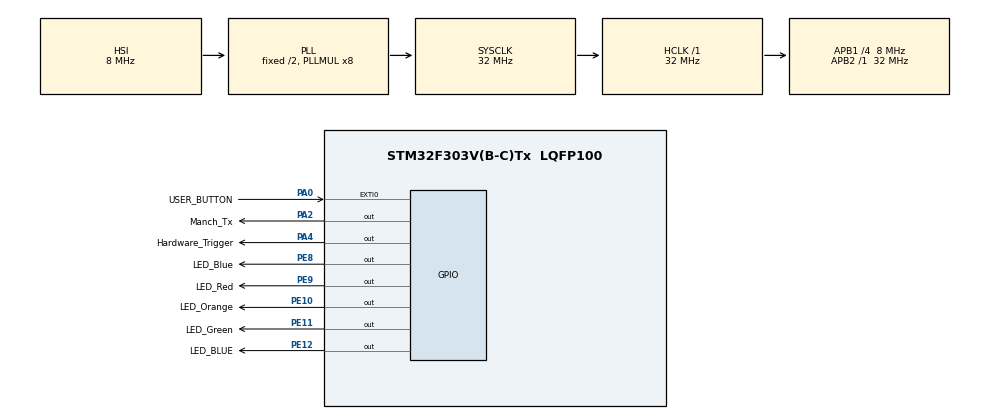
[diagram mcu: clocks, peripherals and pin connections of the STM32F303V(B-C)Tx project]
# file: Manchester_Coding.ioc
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Mcu.Family=STM32F3
Mcu.Name=STM32F303V(B-C)Tx
Mcu.Package=LQFP100
NVIC.EXTI0_IRQn=true\:0\:0\:true\:false\:true\:true
NVIC.PriorityGroup=NVIC_PRIORITYGROUP_4
PA0.GPIO_Label=USER_BUTTON
PA0.GPIO_PuPd=GPIO_PULLDOWN
PA0.Signal=GPXTI0
PA2.GPIO_Label=Manch_Tx
PA2.GPIO_PuPd=GPIO_PULLDOWN
PA2.GPIO_Speed=GPIO_SPEED_FREQ_HIGH
PA2.Signal=GPIO_Output
PA4.GPIO_Label=Hardware_Trigger
PA4.GPIO_PuPd=GPIO_PULLDOWN
PA4.GPIO_Speed=GPIO_SPEED_FREQ_HIGH
PA4.Signal=GPIO_Output
PE10.GPIO_Label=LED_Orange
PE10.GPIO_PuPd=GPIO_PULLDOWN
PE10.Signal=GPIO_Output
PE11.GPIO_Label=LED_Green
PE11.GPIO_PuPd=GPIO_PULLDOWN
PE11.Signal=GPIO_Output
PE12.GPIO_Label=LED_BLUE
PE12.GPIO_PuPd=GPIO_PULLDOWN
PE12.Signal=GPIO_Output
PE8.GPIO_Label=LED_Blue
PE8.GPIO_PuPd=GPIO_PULLDOWN
PE8.Signal=GPIO_Output
PE9.GPIO_Label=LED_Red
PE9.GPIO_PuPd=GPIO_PULLDOWN
PE9.Signal=GPIO_Output
ProjectManager.HeapSize=0x200
ProjectManager.StackSize=0x400
ProjectManager.TargetToolchain=Makefile
RCC.AHBFreq_Value=32000000
RCC.APB1CLKDivider=RCC_HCLK_DIV4
RCC.APB1Freq_Value=8000000
RCC.APB1TimFreq_Value=16000000
RCC.APB2Freq_Value=32000000
RCC.APB2TimFreq_Value=32000000
RCC.CortexFreq_Value=32000000
RCC.HCLKFreq_Value=32000000
RCC.HSE_VALUE=8000000
RCC.HSI_VALUE=8000000
RCC.LSE_VALUE=32768
RCC.PLLMUL=RCC_PLL_MUL8
RCC.SYSCLKFreq_VALUE=32000000
RCC.SYSCLKSourceVirtual=RCC_SYSCLKSOURCE_PLLCLK
RCC.USBFreq_Value=32000000
board=Manchester_Coding

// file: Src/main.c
/**
  ******************************************************************************
  * File Name          : main.c
  * Description        : Main program body
  ******************************************************************************
  ** This notice applies to any and all portions of this file
  * that are not between comment pairs USER CODE BEGIN and
  * USER CODE END. Other portions of this file, whether
  * inserted by the user or by software development tools
  * are owned by their respective copyright owners.
  *
  * COPYRIGHT(c) 2017 STMicroelectronics
  *
  * Redistribution and use in source and binary forms, with or without modification,
  * are permitted provided that the following conditions are met:
  *   1. Redistributions of source code must retain the above copyright notice,
  *      this list of conditions and the following disclaimer.
  *   2. Redistributions in binary form must reproduce the above copyright notice,
  *      this list of conditions and the following disclaimer in the documentation
  *      and/or other materials provided with the distribution.
  *   3. Neither the name of STMicroelectronics nor the names of its contributors
  *      may be used to endorse or promote products derived from this software
  *      without specific prior written permission.
  *
  * THIS SOFTWARE IS PROVIDED BY THE COPYRIGHT HOLDERS AND CONTRIBUTORS "AS IS"
  * AND ANY EXPRESS OR IMPLIED WARRANTIES, INCLUDING, BUT NOT LIMITED TO, THE
  * IMPLIED WARRANTIES OF MERCHANTABILITY AND FITNESS FOR A PARTICULAR PURPOSE ARE
  * DISCLAIMED. IN NO EVENT SHALL THE COPYRIGHT HOLDER OR CONTRIBUTORS BE LIABLE
  * FOR ANY DIRECT, INDIRECT, INCIDENTAL, SPECIAL, EXEMPLARY, OR CONSEQUENTIAL
  * DAMAGES (INCLUDING, BUT NOT LIMITED TO, PROCUREMENT OF SUBSTITUTE GOODS OR
  * SERVICES; LOSS OF USE, DATA, OR PROFITS; OR BUSINESS INTERRUPTION) HOWEVER
  * CAUSED AND ON ANY THEORY OF LIABILITY, WHETHER IN CONTRACT, STRICT LIABILITY,
  * OR TORT (INCLUDING NEGLIGENCE OR OTHERWISE) ARISING IN ANY WAY OUT OF THE USE
  * OF THIS SOFTWARE, EVEN IF ADVISED OF THE POSSIBILITY OF SUCH DAMAGE.
  *
  ******************************************************************************
  */

#include "main.h"
#include "stm32f3xx_hal.h"

/* USER CODE BEGIN Includes */
#include "dwt_stm32_delay.h"
/* USER CODE END Includes */

/* USER CODE BEGIN PV */
/* Private variables ---------------------------------------------------------*/

/* USER CODE END PV */

void SystemClock_Config(void);
static void MX_GPIO_Init(void);

/* USER CODE BEGIN PFP */
/* Private function prototypes -----------------------------------------------*/
static uint32_t T = 400;  /* T value in usec(microseconds) */
static unsigned int response = 0xD5; /* with FE as pre-amble data */
static void Manch_Tx(unsigned int response);

/*interrupt_detected */
unsigned char interrupt_detected = 0;
/* USER CODE END PFP */

int main(void)
{

  /* MCU Configuration----------------------------------------------------------*/

  /* Reset of all peripherals, Initializes the Flash interface and the Systick. */
  HAL_Init();

  /* Configure the system clock */
  SystemClock_Config();

  /* Initialize all configured peripherals */
  MX_GPIO_Init();

  /* USER CODE BEGIN 2 */
  /* Initialize the DWT_Delay_us function */
  if(DWT_Delay_Init())
    {
      _Error_Handler(__FILE__, __LINE__);
    }
  while(interrupt_detected == 0)
    {
    }
  /* I think here, there is a definitive need of some delay */
  /* DWT_Delay_us(10); */
  Manch_Tx(response);

  /* USER CODE END 2 */

  /* Infinite loop */
  /* USER CODE BEGIN WHILE */
  while (1)
  {
  HAL_GPIO_TogglePin(LED_Green_GPIO_Port, LED_Green_Pin);
  HAL_Delay(250);
  /* USER CODE END WHILE */

  }

}

/** System Clock Configuration
*/
void SystemClock_Config(void)
{

  RCC_OscInitTypeDef RCC_OscInitStruct;
  RCC_ClkInitTypeDef RCC_ClkInitStruct;

    /**Initializes the CPU, AHB and APB busses clocks
    */
  RCC_OscInitStruct.OscillatorType = RCC_OSCILLATORTYPE_HSI;
  RCC_OscInitStruct.HSIState = RCC_HSI_ON;
  RCC_OscInitStruct.HSICalibrationValue = 16;
  RCC_OscInitStruct.PLL.PLLState = RCC_PLL_ON;
  RCC_OscInitStruct.PLL.PLLSource = RCC_PLLSOURCE_HSI;
  RCC_OscInitStruct.PLL.PLLMUL = RCC_PLL_MUL8;
  if (HAL_RCC_OscConfig(&RCC_OscInitStruct) != HAL_OK)
  {
    _Error_Handler(__FILE__, __LINE__);
  }

    /**Initializes the CPU, AHB and APB busses clocks
    */
  RCC_ClkInitStruct.ClockType = RCC_CLOCKTYPE_HCLK|RCC_CLOCKTYPE_SYSCLK
                              |RCC_CLOCKTYPE_PCLK1|RCC_CLOCKTYPE_PCLK2;
  RCC_ClkInitStruct.SYSCLKSource = RCC_SYSCLKSOURCE_PLLCLK;
  RCC_ClkInitStruct.AHBCLKDivider = RCC_SYSCLK_DIV1;
  RCC_ClkInitStruct.APB1CLKDivider = RCC_HCLK_DIV4;
  RCC_ClkInitStruct.APB2CLKDivider = RCC_HCLK_DIV1;

  if (HAL_RCC_ClockConfig(&RCC_ClkInitStruct, FLASH_LATENCY_1) != HAL_OK)
  {
    _Error_Handler(__FILE__, __LINE__);
  }

    /**Configure the Systick interrupt time
    */
  HAL_SYSTICK_Config(HAL_RCC_GetHCLKFreq()/1000);

    /**Configure the Systick
    */
  HAL_SYSTICK_CLKSourceConfig(SYSTICK_CLKSOURCE_HCLK);

  /* SysTick_IRQn interrupt configuration */
  HAL_NVIC_SetPriority(SysTick_IRQn, 0, 0);
}

/** Configure pins as
        * Analog
        * Input
        * Output
        * EVENT_OUT
        * EXTI
*/
static void MX_GPIO_Init(void)
{

  GPIO_InitTypeDef GPIO_InitStruct;

  /* GPIO Ports Clock Enable */
  __HAL_RCC_GPIOA_CLK_ENABLE();
  __HAL_RCC_GPIOE_CLK_ENABLE();

  /*Configure GPIO pin Output Level */
  HAL_GPIO_WritePin(GPIOA, Manch_Tx_Pin|Hardware_Trigger_Pin, GPIO_PIN_RESET);

  /*Configure GPIO pin Output Level */
  HAL_GPIO_WritePin(GPIOE, LED_Blue_Pin|LED_Red_Pin|LED_Orange_Pin|LED_Green_Pin
                          |LED_BLUE_Pin, GPIO_PIN_RESET);

  /*Configure GPIO pin : USER_BUTTON_Pin */
  GPIO_InitStruct.Pin = USER_BUTTON_Pin;
  GPIO_InitStruct.Mode = GPIO_MODE_IT_RISING;
  GPIO_InitStruct.Pull = GPIO_PULLDOWN;
  HAL_GPIO_Init(USER_BUTTON_GPIO_Port, &GPIO_InitStruct);

  /*Configure GPIO pins : Manch_Tx_Pin Hardware_Trigger_Pin */
  GPIO_InitStruct.Pin = Manch_Tx_Pin|Hardware_Trigger_Pin;
  GPIO_InitStruct.Mode = GPIO_MODE_OUTPUT_PP;
  GPIO_InitStruct.Pull = GPIO_PULLDOWN;
  GPIO_InitStruct.Speed = GPIO_SPEED_FREQ_HIGH;
  HAL_GPIO_Init(GPIOA, &GPIO_InitStruct);

  /*Configure GPIO pins : LED_Blue_Pin LED_Red_Pin LED_Orange_Pin LED_Green_Pin
                           LED_BLUE_Pin */
  GPIO_InitStruct.Pin = LED_Blue_Pin|LED_Red_Pin|LED_Orange_Pin|LED_Green_Pin
                          |LED_BLUE_Pin;
  GPIO_InitStruct.Mode = GPIO_MODE_OUTPUT_PP;
  GPIO_InitStruct.Pull = GPIO_PULLDOWN;
  GPIO_InitStruct.Speed = GPIO_SPEED_FREQ_LOW;
  HAL_GPIO_Init(GPIOE, &GPIO_InitStruct);

  /* EXTI interrupt init*/
  HAL_NVIC_SetPriority(EXTI0_IRQn, 0, 0);
  HAL_NVIC_EnableIRQ(EXTI0_IRQn);

}

/* USER CODE BEGIN 4 */
void Manch_Tx(unsigned int response)
{
  unsigned int bit_mask = 0x80;
  /* Start bit */
  HAL_GPIO_WritePin(Manch_Tx_GPIO_Port, Manch_Tx_Pin, GPIO_PIN_SET);
  HAL_Delay(1);
  HAL_GPIO_WritePin(Manch_Tx_GPIO_Port, Manch_Tx_Pin, GPIO_PIN_RESET);
  DWT_Delay_us(T);
  HAL_GPIO_WritePin(Manch_Tx_GPIO_Port, Manch_Tx_Pin, GPIO_PIN_SET);
  DWT_Delay_us(T);
  /* while looop */
  while(bit_mask)
    {
      if(bit_mask & response)
	{
	  /* Transmit '1' */
	  HAL_GPIO_WritePin(Manch_Tx_GPIO_Port, Manch_Tx_Pin, GPIO_PIN_RESET);
	  DWT_Delay_us(T);
	  HAL_GPIO_WritePin(Manch_Tx_GPIO_Port, Manch_Tx_Pin, GPIO_PIN_SET);
	  DWT_Delay_us(T);
	}
      else
	{
	  /* Transmit 0 */
	  HAL_GPIO_WritePin(Manch_Tx_GPIO_Port, Manch_Tx_Pin, GPIO_PIN_SET);
	  DWT_Delay_us(T);
	  HAL_GPIO_WritePin(Manch_Tx_GPIO_Port, Manch_Tx_Pin, GPIO_PIN_RESET);
	  DWT_Delay_us(T);
	}
      bit_mask = bit_mask >> 1;
    }
  HAL_GPIO_WritePin(Manch_Tx_GPIO_Port, Manch_Tx_Pin, GPIO_PIN_SET);
}
/* USER CODE END 4 */

void _Error_Handler(char * file, int line)
{
  /* USER CODE BEGIN Error_Handler_Debug */
  /* Toggle LD5(Orange) LED */
  HAL_GPIO_WritePin(LED_Orange_GPIO_Port, LED_Orange_Pin, GPIO_PIN_SET);
  /* User can add his own implementation to report the HAL error return state */
  while(1)
  {
  }
  /* USER CODE END Error_Handler_Debug */
}

/************************ (C) COPYRIGHT STMicroelectronics *****END OF FILE****/
